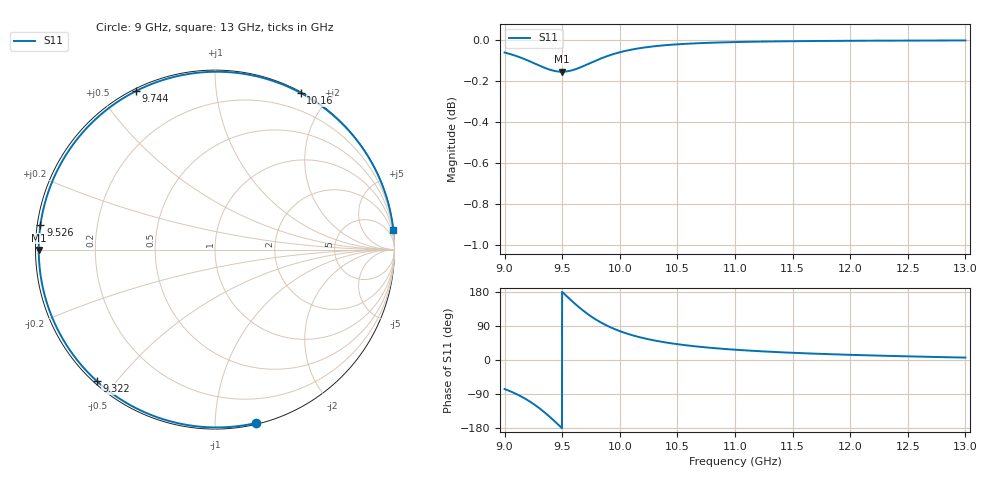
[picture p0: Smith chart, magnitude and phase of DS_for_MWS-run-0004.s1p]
! TOUCHSTONE file generated by CST DESIGN STUDIO
! Date and time: Tue Feb  4 17:19:11 2025
! Project name: C:\Work\MatlabApps\UnitCellOptimizationMatlab\CST\unitcell.cst
! Tree item: Tasks\Sweep1\SPara1\S-Parameters
! Header version: 2024
! Port assignment regex: !\s*Touchstone port\s*([0-9]+)\s*=\s*(CST MWS port|CST DES external port|CST DES block port)\s*(.+)\s* \(\"(.*)\"\)(\s*mode\s*([0-9]+))?.*
! Touchstone port assignment:
! Touchstone port 1 = CST DES external port 1 ("")
# GHz S MA R 50
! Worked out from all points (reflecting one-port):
!   4001 points, 9 GHz to 13 GHz, reference 50 ohm
!   lowest |S11| = -0.2 dB at 9.498 GHz (marker M1), VSWR 111.59, Z = 0.448 - j0.0527 ohm
!   phase of S11 starts at -77 deg and turns -277 deg over the sweep
!   S11 on the Smith chart (normalised r, x): 9 GHz: 0.01, -1.27; 9.322 GHz: 0.01, -0.44; 9.526 GHz: 0.01, +0.07; 9.744 GHz: 0.01, +0.62; 10.16 GHz: 0.01, +1.69; 13 GHz: 0, +18
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9  0.9929 -76.6
9.084  0.9913 -87.2
9.185  0.9889 -103.3
9.256  0.9869 -117.1
9.322  0.9851 -132.1
9.369  0.9839 -143.9
9.418  0.9829 -157.1
9.459  0.9824 -168.7
9.498  0.9822 -179.9
9.5  0.9822 179.5
9.526  0.9823 172.1
9.58  0.9829 156.8
9.64  0.9842 140.7
9.691  0.9855 128.2
9.744  0.9871 116.4
9.797  0.9885 105.9
9.855  0.99 95.9
9.927  0.9917 85.2
10  0.993 76.2
10.158  0.9951 61.3
10.313  0.9964 50.8
10.5  0.9974 41.7
10.722  0.9982 34.0
11  0.9987 27.2
11.5  0.9992 19.0
12  0.9994 13.6
12.5  0.9995 9.6
13  0.9996 6.4
